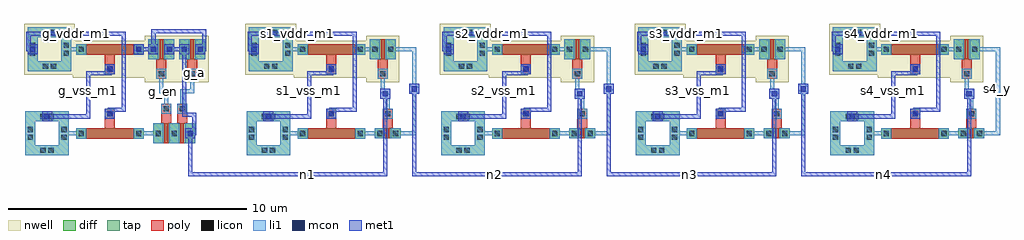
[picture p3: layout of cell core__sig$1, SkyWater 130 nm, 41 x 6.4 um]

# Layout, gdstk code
from math import pi, radians
import gdstk
lib = gdstk.Library(unit=1e-6, precision=1e-09)
def R(c, l, rs):  # rectangles x0, y0, x1, y1
    for r in rs: c.add(gdstk.rectangle(r[:2], r[2:], *l))
def A(c, l, x, y, w, h, nx, ny, dx, dy):  # array of equal rectangles
    R(c, l, [(x+i*dx, y+j*dy, x+i*dx+w, y+j*dy+h) for i in range(nx) for j in range(ny)])
def P(c, l, *ps):  # polygons
    for p in ps: c.add(gdstk.Polygon(p, *l))
nwell = (64, 20)
diff = (65, 20)
tap = (65, 44)
poly = (66, 20)
licon = (66, 44)
li1 = (67, 20)
mcon = (67, 44)
met1 = (68, 20)

mos_array_10 = lib.new_cell('mos_array$10')
R(mos_array_10, nwell, [(-0.15,-0.15,2.99,1.41)])
R(mos_array_10, diff, [(0,0,2.84,0.44)])
R(mos_array_10, poly, [(0.42,0,2.42,0.44), (1.21,0.44,1.63,1.26)])
R(mos_array_10, licon, [(0.1,0.11,0.32,0.33), (2.52,0.11,2.74,0.33), (1.31,0.94,1.53,1.16)])
R(mos_array_10, li1, [(0,0,0.42,0.44), (2.42,0,2.84,0.44), (1.21,0.84,1.63,1.26)])

mph__mph_5 = lib.new_cell('mph__mph$5')
mph__mph_5.add(gdstk.Reference(mos_array_10, (0,0)))

mos_array_1_6 = lib.new_cell('mos_array$1$6')
R(mos_array_1_6, nwell, [(-0.15,-0.15,1.24,1.81)])
R(mos_array_1_6, diff, [(0,0,1.09,0.84)])
R(mos_array_1_6, poly, [(0.47,0,0.62,0.84), (0.335,0.84,0.755,1.66)])
R(mos_array_1_6, licon, [(0.1,0.31,0.32,0.53), (0.77,0.31,0.99,0.53), (0.435,1.34,0.655,1.56)])
R(mos_array_1_6, li1, [(0,0,0.42,0.84), (0.67,0,1.09,0.84), (0.335,1.24,0.755,1.66)])

mpa__mpa_1 = lib.new_cell('mpa__mpa$1')
mpa__mpa_1.add(gdstk.Reference(mos_array_1_6, (0,0)))

mos_array_2_5 = lib.new_cell('mos_array$2$5')
R(mos_array_2_5, nwell, [(-0.15,-0.15,1.24,1.81)])
R(mos_array_2_5, diff, [(0,0,1.09,0.84)])
R(mos_array_2_5, poly, [(0.47,0,0.62,0.84), (0.335,0.84,0.755,1.66)])
R(mos_array_2_5, licon, [(0.1,0.31,0.32,0.53), (0.77,0.31,0.99,0.53), (0.435,1.34,0.655,1.56)])
R(mos_array_2_5, li1, [(0,0,0.42,0.84), (0.67,0,1.09,0.84), (0.335,1.24,0.755,1.66)])

mpb__mpb_1 = lib.new_cell('mpb__mpb$1')
mpb__mpb_1.add(gdstk.Reference(mos_array_2_5, (0,0)))

mos_array_3_5 = lib.new_cell('mos_array$3$5')
R(mos_array_3_5, diff, [(0,0,2.84,0.44)])
R(mos_array_3_5, poly, [(0.42,0,2.42,0.44), (1.21,0.44,1.63,1.26)])
R(mos_array_3_5, licon, [(0.1,0.11,0.32,0.33), (2.52,0.11,2.74,0.33), (1.31,0.94,1.53,1.16)])
R(mos_array_3_5, li1, [(0,0,0.42,0.44), (2.42,0,2.84,0.44), (1.21,0.84,1.63,1.26)])

mnt__mnt_5 = lib.new_cell('mnt__mnt$5')
mnt__mnt_5.add(gdstk.Reference(mos_array_3_5, (0,0)))

mos_array_4_1 = lib.new_cell('mos_array$4$1')
R(mos_array_4_1, diff, [(0,0,1.76,0.84)])
R(mos_array_4_1, poly, [(0.47,0,0.62,0.84), (1.14,0,1.29,0.84), (0.335,0.84,0.755,1.66), (1.005,0.84,1.425,1.66)])
A(mos_array_4_1, licon, 0.1, 0.31, 0.22, 0.22, 3, 1, 0.67, 0)
R(mos_array_4_1, licon, [(0.435,1.34,0.655,1.56), (1.105,1.34,1.325,1.56)])
A(mos_array_4_1, li1, 0, 0, 0.42, 0.84, 3, 1, 0.67, 0)
R(mos_array_4_1, li1, [(0.335,1.24,0.755,1.66), (1.005,1.24,1.425,1.66)])

mnab__mnab_1 = lib.new_cell('mnab__mnab$1')
mnab__mnab_1.add(gdstk.Reference(mos_array_4_1, (0,0)))

guard_ring_7 = lib.new_cell('guard_ring$7')
R(guard_ring_7, nwell, [(-0.15,-0.15,1.99,1.99)])
P(guard_ring_7, tap, [(0,0),(0,1.42),(0.42,1.42),(0.42,0.42),(1.42,0.42),(1.42,1.42),(0,1.42),(0,1.84),(1.84,1.84),(1.84,0)])
R(guard_ring_7, licon, [(0.643,0.1,0.863,0.32), (0.977,0.1,1.197,0.32), (0.1,0.643,0.32,0.863), (1.52,0.643,1.74,0.863), (0.1,0.977,0.32,1.197), (1.52,0.977,1.74,1.197), (0.643,1.52,0.863,1.74), (0.977,1.52,1.197,1.74)])
P(guard_ring_7, li1, [(0,0),(0,1.42),(0.42,1.42),(0.42,0.42),(1.42,0.42),(1.42,1.42),(0,1.42),(0,1.84),(1.84,1.84),(1.84,0)])

nwell_tap__nwell_tap_6 = lib.new_cell('nwell_tap__nwell_tap$6')
nwell_tap__nwell_tap_6.add(gdstk.Reference(guard_ring_7, (0,0)))

guard_ring_1_6 = lib.new_cell('guard_ring$1$6')
P(guard_ring_1_6, tap, [(0,0),(0,1.42),(0.42,1.42),(0.42,0.42),(1.42,0.42),(1.42,1.42),(0,1.42),(0,1.84),(1.84,1.84),(1.84,0)])
R(guard_ring_1_6, licon, [(0.643,0.1,0.863,0.32), (0.977,0.1,1.197,0.32), (0.1,0.643,0.32,0.863), (1.52,0.643,1.74,0.863), (0.1,0.977,0.32,1.197), (1.52,0.977,1.74,1.197), (0.643,1.52,0.863,1.74), (0.977,1.52,1.197,1.74)])
P(guard_ring_1_6, li1, [(0,0),(0,1.42),(0.42,1.42),(0.42,0.42),(1.42,0.42),(1.42,1.42),(0,1.42),(0,1.84),(1.84,1.84),(1.84,0)])

psub_tap__psub_tap_6 = lib.new_cell('psub_tap__psub_tap$6')
psub_tap__psub_tap_6.add(gdstk.Reference(guard_ring_1_6, (0,0)))

core__core_5 = lib.new_cell('core__core$5')
R(core__core_5, li1, [(3.575,1.24,3.995,1.41), (4.245,1.24,4.665,1.41), (3.375,2.54,3.795,2.71), (4.665,2.54,5.085,2.71)])
core__core_5.add(gdstk.FlexPath([(0.21,3.74),(-0.41,3.74)], 0.17, ends="flush", simple_path=True, layer=67, datatype=20))  # li1
core__core_5.add(gdstk.FlexPath([(0.21,0.21),(-0.51,0.21)], 0.17, ends="flush", simple_path=True, layer=67, datatype=20))  # li1
core__core_5.add(gdstk.FlexPath([(2.63,0.21),(3.45,0.21)], 0.17, ends="flush", simple_path=True, layer=67, datatype=20))  # li1
core__core_5.add(gdstk.FlexPath([(3.585,2.71),(3.585,1.975),(3.785,1.975),(3.785,1.24)], 0.17, ends="flush", simple_path=True, layer=67, datatype=20))  # li1
core__core_5.add(gdstk.FlexPath([(4.875,2.71),(4.875,1.975),(4.455,1.975),(4.455,1.24)], 0.17, ends="flush", simple_path=True, layer=67, datatype=20))  # li1
core__core_5.add(gdstk.Reference(mph__mph_5, (0,3.96), x_reflection=True))
core__core_5.add(gdstk.Reference(mpa__mpa_1, (3.04,4.16), x_reflection=True))
core__core_5.add(gdstk.Reference(mpb__mpb_1, (5.42,4.16), rotation=pi))
core__core_5.add(gdstk.Reference(mnt__mnt_5, (0,-0.01)))
core__core_5.add(gdstk.Reference(mnab__mnab_1, (3.24,-0.21)))
core__core_5.add(gdstk.Reference(nwell_tap__nwell_tap_6, (-2.04,2.82)))
core__core_5.add(gdstk.Reference(psub_tap__psub_tap_6, (-2.14,-0.71)))
core__core_5.add(gdstk.Label('vddr', (-0.1,3.74), layer=67, texttype=5))
core__core_5.add(gdstk.Label('vss', (-0.15,0.21), layer=67, texttype=5))
core__core_5.add(gdstk.Label('ny', (3.04,0.21), layer=67, texttype=5))
core__core_5.add(gdstk.Label('en', (3.685,1.975), layer=67, texttype=5))
core__core_5.add(gdstk.Label('a', (4.665,1.975), layer=67, texttype=5))
core__core_5.add(gdstk.Label('vddr', (-1.83,3.74), layer=67, texttype=5))
core__core_5.add(gdstk.Label('vss', (-1.22,0.92), layer=67, texttype=5))
core__core_5.add(gdstk.Label('mph_py', (2.63,3.74), layer=67, texttype=5))
core__core_5.add(gdstk.Label('mpa_py', (3.25,3.74), layer=67, texttype=5))
core__core_5.add(gdstk.Label('mpb_py', (5.21,3.74), layer=67, texttype=5))
core__core_5.add(gdstk.Label('mpa_y', (3.92,3.74), layer=67, texttype=5))
core__core_5.add(gdstk.Label('mpb_y', (4.54,3.74), layer=67, texttype=5))
core__core_5.add(gdstk.Label('mnab_y', (4.79,0.21), layer=67, texttype=5))
core__core_5.add(gdstk.Label('mph_g', (1.42,2.91), layer=67, texttype=5))
core__core_5.add(gdstk.Label('mnt_g', (1.42,1.04), layer=67, texttype=5))

g__ro_nand2_wstv0p44 = lib.new_cell('g__ro_nand2_wstv0p44')
R(g__ro_nand2_wstv0p44, li1, [(4.58,0,5,0.42), (-1.43,0.71,-1.01,1.13), (1.21,0.83,1.63,1.25), (1.21,2.7,1.63,3.12), (-2.04,3.53,-1.62,3.95), (2.42,3.53,2.84,3.95), (3.04,3.53,3.46,3.95), (3.04,3.53,3.46,3.95), (3.71,3.53,4.13,3.95), (4.33,3.53,4.75,3.95), (4.33,3.53,4.75,3.95), (5,3.53,5.42,3.95)])
R(g__ro_nand2_wstv0p44, mcon, [(4.68,0.1,4.9,0.32), (-1.33,0.81,-1.11,1.03), (1.31,0.93,1.53,1.15), (1.31,2.8,1.53,3.02), (-1.94,3.63,-1.72,3.85), (2.52,3.63,2.74,3.85), (3.14,3.63,3.36,3.85), (3.14,3.63,3.36,3.85), (3.81,3.63,4.03,3.85), (4.43,3.63,4.65,3.85), (4.43,3.63,4.65,3.85), (5.1,3.63,5.32,3.85)])
R(g__ro_nand2_wstv0p44, met1, [(4.58,0,5,0.42), (-1.43,0.71,-1.01,1.13), (1.21,0.83,1.63,1.25), (1.21,2.7,1.63,3.12), (-2.04,3.53,-1.62,3.95), (2.42,3.53,2.84,3.95), (3.04,3.53,3.46,3.95), (3.04,3.53,3.46,3.95), (3.71,3.53,4.13,3.95), (4.33,3.53,4.75,3.95), (4.33,3.53,4.75,3.95), (5,3.53,5.42,3.95)])
g__ro_nand2_wstv0p44.add(gdstk.FlexPath([(2.63,3.74),(3.25,3.74)], 0.17, ends="flush", simple_path=True, layer=68, datatype=20))  # met1
g__ro_nand2_wstv0p44.add(gdstk.FlexPath([(3.25,3.74),(3.25,4.5),(5.38,4.5),(5.38,3.74),(5.21,3.74)], 0.17, ends="flush", simple_path=True, layer=68, datatype=20))  # met1
g__ro_nand2_wstv0p44.add(gdstk.FlexPath([(3.92,3.74),(4.54,3.74)], 0.17, ends="flush", simple_path=True, layer=68, datatype=20))  # met1
g__ro_nand2_wstv0p44.add(gdstk.FlexPath([(4.54,3.74),(4.54,1),(4.96,1),(4.96,0.21),(4.79,0.21)], 0.17, ends="flush", simple_path=True, layer=68, datatype=20))  # met1
g__ro_nand2_wstv0p44.add(gdstk.FlexPath([(1.42,2.91),(1.42,2.74),(0.5,2.74),(0.5,0.92),(-1.22,0.92),(-1.22,0.92)], 0.17, ends="flush", simple_path=True, layer=68, datatype=20))  # met1
g__ro_nand2_wstv0p44.add(gdstk.FlexPath([(1.42,1.04),(1.42,1.21),(2,1.21),(2,4.4),(-2,4.4),(-2,3.74),(-1.83,3.74)], 0.17, ends="flush", simple_path=True, layer=68, datatype=20))  # met1
g__ro_nand2_wstv0p44.add(gdstk.Reference(core__core_5, (0,0)))
g__ro_nand2_wstv0p44.add(gdstk.Label('py', (2.94,3.74), layer=68, texttype=5))
g__ro_nand2_wstv0p44.add(gdstk.Label('py', (4.4,4.5), layer=68, texttype=5))
g__ro_nand2_wstv0p44.add(gdstk.Label('y', (4.23,3.74), layer=68, texttype=5))
g__ro_nand2_wstv0p44.add(gdstk.Label('y', (4.54,1.68), layer=68, texttype=5))
g__ro_nand2_wstv0p44.add(gdstk.Label('vss', (0.5,1.515), layer=68, texttype=5))
g__ro_nand2_wstv0p44.add(gdstk.Label('vddr', (1.555,4.4), layer=68, texttype=5))

mos_array_5_1 = lib.new_cell('mos_array$5$1')
R(mos_array_5_1, diff, [(0,0,2.84,0.44)])
R(mos_array_5_1, poly, [(0.42,0,2.42,0.44), (1.21,0.44,1.63,1.26)])
R(mos_array_5_1, licon, [(0.1,0.11,0.32,0.33), (2.52,0.11,2.74,0.33), (1.31,0.94,1.53,1.16)])
R(mos_array_5_1, li1, [(0,0,0.42,0.44), (2.42,0,2.84,0.44), (1.21,0.84,1.63,1.26)])

mnt__mnt_1_1 = lib.new_cell('mnt__mnt$1$1')
mnt__mnt_1_1.add(gdstk.Reference(mos_array_5_1, (0,0)))

guard_ring_2_1 = lib.new_cell('guard_ring$2$1')
P(guard_ring_2_1, tap, [(0,0),(0,1.42),(0.42,1.42),(0.42,0.42),(1.42,0.42),(1.42,1.42),(0,1.42),(0,1.84),(1.84,1.84),(1.84,0)])
R(guard_ring_2_1, licon, [(0.643,0.1,0.863,0.32), (0.977,0.1,1.197,0.32), (0.1,0.643,0.32,0.863), (1.52,0.643,1.74,0.863), (0.1,0.977,0.32,1.197), (1.52,0.977,1.74,1.197), (0.643,1.52,0.863,1.74), (0.977,1.52,1.197,1.74)])
P(guard_ring_2_1, li1, [(0,0),(0,1.42),(0.42,1.42),(0.42,0.42),(1.42,0.42),(1.42,1.42),(0,1.42),(0,1.84),(1.84,1.84),(1.84,0)])

psub_tap__psub_tap_1_1 = lib.new_cell('psub_tap__psub_tap$1$1')
psub_tap__psub_tap_1_1.add(gdstk.Reference(guard_ring_2_1, (0,0)))

mos_array_1_1_1 = lib.new_cell('mos_array$1$1$1')
R(mos_array_1_1_1, diff, [(0,0,1.09,0.42)])
R(mos_array_1_1_1, poly, [(0.47,0,0.62,0.42), (0.335,0.42,0.755,1.24)])
R(mos_array_1_1_1, licon, [(0.1,0.1,0.32,0.32), (0.77,0.1,0.99,0.32), (0.435,0.92,0.655,1.14)])
R(mos_array_1_1_1, li1, [(0,0,0.42,0.42), (0.67,0,1.09,0.42), (0.335,0.82,0.755,1.24)])

mn__mn_4 = lib.new_cell('mn__mn$4')
mn__mn_4.add(gdstk.Reference(mos_array_1_1_1, (0,0)))

mos_array_2_1_1 = lib.new_cell('mos_array$2$1$1')
R(mos_array_2_1_1, nwell, [(-0.15,-0.15,2.99,1.41)])
R(mos_array_2_1_1, diff, [(0,0,2.84,0.44)])
R(mos_array_2_1_1, poly, [(0.42,0,2.42,0.44), (1.21,0.44,1.63,1.26)])
R(mos_array_2_1_1, licon, [(0.1,0.11,0.32,0.33), (2.52,0.11,2.74,0.33), (1.31,0.94,1.53,1.16)])
R(mos_array_2_1_1, li1, [(0,0,0.42,0.44), (2.42,0,2.84,0.44), (1.21,0.84,1.63,1.26)])

mph__mph_1_1 = lib.new_cell('mph__mph$1$1')
mph__mph_1_1.add(gdstk.Reference(mos_array_2_1_1, (0,0)))

guard_ring_1_1_1 = lib.new_cell('guard_ring$1$1$1')
R(guard_ring_1_1_1, nwell, [(-0.15,-0.15,1.99,1.99)])
P(guard_ring_1_1_1, tap, [(0,0),(0,1.42),(0.42,1.42),(0.42,0.42),(1.42,0.42),(1.42,1.42),(0,1.42),(0,1.84),(1.84,1.84),(1.84,0)])
R(guard_ring_1_1_1, licon, [(0.643,0.1,0.863,0.32), (0.977,0.1,1.197,0.32), (0.1,0.643,0.32,0.863), (1.52,0.643,1.74,0.863), (0.1,0.977,0.32,1.197), (1.52,0.977,1.74,1.197), (0.643,1.52,0.863,1.74), (0.977,1.52,1.197,1.74)])
P(guard_ring_1_1_1, li1, [(0,0),(0,1.42),(0.42,1.42),(0.42,0.42),(1.42,0.42),(1.42,1.42),(0,1.42),(0,1.84),(1.84,1.84),(1.84,0)])

nwell_tap__nwell_tap_1_1 = lib.new_cell('nwell_tap__nwell_tap$1$1')
nwell_tap__nwell_tap_1_1.add(gdstk.Reference(guard_ring_1_1_1, (0,0)))

mos_array_3_1_1 = lib.new_cell('mos_array$3$1$1')
R(mos_array_3_1_1, nwell, [(-0.15,-0.15,1.24,1.81)])
R(mos_array_3_1_1, diff, [(0,0,1.09,0.84)])
R(mos_array_3_1_1, poly, [(0.47,0,0.62,0.84), (0.335,0.84,0.755,1.66)])
R(mos_array_3_1_1, licon, [(0.1,0.31,0.32,0.53), (0.77,0.31,0.99,0.53), (0.435,1.34,0.655,1.56)])
R(mos_array_3_1_1, li1, [(0,0,0.42,0.84), (0.67,0,1.09,0.84), (0.335,1.24,0.755,1.66)])

mp__mp_4 = lib.new_cell('mp__mp$4')
mp__mp_4.add(gdstk.Reference(mos_array_3_1_1, (0,0)))

core__core_1_1 = lib.new_cell('core__core$1$1')
R(core__core_1_1, li1, [(3.575,1.03,3.995,1.2), (3.375,2.54,3.795,2.71)])
core__core_1_1.add(gdstk.FlexPath([(3.585,2.71),(3.585,1.87),(3.785,1.87),(3.785,1.03)], 0.17, ends="flush", simple_path=True, layer=67, datatype=20))  # li1
core__core_1_1.add(gdstk.FlexPath([(3.92,3.74),(4.9,3.74),(4.9,0.21),(4.12,0.21)], 0.17, ends="flush", simple_path=True, layer=67, datatype=20))  # li1
core__core_1_1.add(gdstk.FlexPath([(2.63,3.74),(3.25,3.74)], 0.17, ends="flush", simple_path=True, layer=67, datatype=20))  # li1
core__core_1_1.add(gdstk.FlexPath([(2.63,0.21),(3.45,0.21)], 0.17, ends="flush", simple_path=True, layer=67, datatype=20))  # li1
core__core_1_1.add(gdstk.FlexPath([(0.21,3.74),(-0.41,3.74)], 0.17, ends="flush", simple_path=True, layer=67, datatype=20))  # li1
core__core_1_1.add(gdstk.FlexPath([(0.21,0.21),(-0.51,0.21)], 0.17, ends="flush", simple_path=True, layer=67, datatype=20))  # li1
core__core_1_1.add(gdstk.Reference(mnt__mnt_1_1, (0,-0.01)))
core__core_1_1.add(gdstk.Reference(psub_tap__psub_tap_1_1, (-2.14,-0.71)))
core__core_1_1.add(gdstk.Reference(mn__mn_4, (3.24,0)))
core__core_1_1.add(gdstk.Reference(mph__mph_1_1, (0,3.96), x_reflection=True))
core__core_1_1.add(gdstk.Reference(nwell_tap__nwell_tap_1_1, (-2.04,2.82)))
core__core_1_1.add(gdstk.Reference(mp__mp_4, (3.04,4.16), x_reflection=True))
core__core_1_1.add(gdstk.Label('a', (3.685,1.87), layer=67, texttype=5))
core__core_1_1.add(gdstk.Label('y', (4.9,2.075), layer=67, texttype=5))
core__core_1_1.add(gdstk.Label('py', (2.94,3.74), layer=67, texttype=5))
core__core_1_1.add(gdstk.Label('ny', (3.04,0.21), layer=67, texttype=5))
core__core_1_1.add(gdstk.Label('vddr', (-0.1,3.74), layer=67, texttype=5))
core__core_1_1.add(gdstk.Label('vss', (-0.15,0.21), layer=67, texttype=5))
core__core_1_1.add(gdstk.Label('vddr', (-1.83,3.74), layer=67, texttype=5))
core__core_1_1.add(gdstk.Label('vss', (-1.22,0.92), layer=67, texttype=5))
core__core_1_1.add(gdstk.Label('mph_g', (1.42,2.91), layer=67, texttype=5))
core__core_1_1.add(gdstk.Label('mnt_g', (1.42,1.04), layer=67, texttype=5))

s1__ro_stage_wstv0p44 = lib.new_cell('s1__ro_stage_wstv0p44')
R(s1__ro_stage_wstv0p44, li1, [(-1.43,0.71,-1.01,1.13), (1.21,0.83,1.63,1.25), (1.21,2.7,1.63,3.12), (-2.04,3.53,-1.62,3.95)])
R(s1__ro_stage_wstv0p44, mcon, [(-1.33,0.81,-1.11,1.03), (1.31,0.93,1.53,1.15), (1.31,2.8,1.53,3.02), (-1.94,3.63,-1.72,3.85)])
R(s1__ro_stage_wstv0p44, met1, [(-1.43,0.71,-1.01,1.13), (1.21,0.83,1.63,1.25), (1.21,2.7,1.63,3.12), (-2.04,3.53,-1.62,3.95)])
s1__ro_stage_wstv0p44.add(gdstk.FlexPath([(1.42,2.91),(1.42,2.74),(0.5,2.74),(0.5,0.92),(-1.22,0.92),(-1.22,0.92)], 0.17, ends="flush", simple_path=True, layer=68, datatype=20))  # met1
s1__ro_stage_wstv0p44.add(gdstk.FlexPath([(1.42,1.04),(1.42,1.21),(2.4,1.21),(2.4,4.4),(-2,4.4),(-2,3.74),(-1.83,3.74)], 0.17, ends="flush", simple_path=True, layer=68, datatype=20))  # met1
s1__ro_stage_wstv0p44.add(gdstk.Reference(core__core_1_1, (0,0)))
s1__ro_stage_wstv0p44.add(gdstk.Label('vss', (0.5,1.515), layer=68, texttype=5))
s1__ro_stage_wstv0p44.add(gdstk.Label('vddr', (1.955,4.4), layer=68, texttype=5))

mos_array_6_1 = lib.new_cell('mos_array$6$1')
R(mos_array_6_1, diff, [(0,0,2.84,0.44)])
R(mos_array_6_1, poly, [(0.42,0,2.42,0.44), (1.21,0.44,1.63,1.26)])
R(mos_array_6_1, licon, [(0.1,0.11,0.32,0.33), (2.52,0.11,2.74,0.33), (1.31,0.94,1.53,1.16)])
R(mos_array_6_1, li1, [(0,0,0.42,0.44), (2.42,0,2.84,0.44), (1.21,0.84,1.63,1.26)])

mnt__mnt_2_1 = lib.new_cell('mnt__mnt$2$1')
mnt__mnt_2_1.add(gdstk.Reference(mos_array_6_1, (0,0)))

guard_ring_3_1 = lib.new_cell('guard_ring$3$1')
P(guard_ring_3_1, tap, [(0,0),(0,1.42),(0.42,1.42),(0.42,0.42),(1.42,0.42),(1.42,1.42),(0,1.42),(0,1.84),(1.84,1.84),(1.84,0)])
R(guard_ring_3_1, licon, [(0.643,0.1,0.863,0.32), (0.977,0.1,1.197,0.32), (0.1,0.643,0.32,0.863), (1.52,0.643,1.74,0.863), (0.1,0.977,0.32,1.197), (1.52,0.977,1.74,1.197), (0.643,1.52,0.863,1.74), (0.977,1.52,1.197,1.74)])
P(guard_ring_3_1, li1, [(0,0),(0,1.42),(0.42,1.42),(0.42,0.42),(1.42,0.42),(1.42,1.42),(0,1.42),(0,1.84),(1.84,1.84),(1.84,0)])

psub_tap__psub_tap_2_1 = lib.new_cell('psub_tap__psub_tap$2$1')
psub_tap__psub_tap_2_1.add(gdstk.Reference(guard_ring_3_1, (0,0)))

mos_array_1_2_1 = lib.new_cell('mos_array$1$2$1')
R(mos_array_1_2_1, diff, [(0,0,1.09,0.42)])
R(mos_array_1_2_1, poly, [(0.47,0,0.62,0.42), (0.335,0.42,0.755,1.24)])
R(mos_array_1_2_1, licon, [(0.1,0.1,0.32,0.32), (0.77,0.1,0.99,0.32), (0.435,0.92,0.655,1.14)])
R(mos_array_1_2_1, li1, [(0,0,0.42,0.42), (0.67,0,1.09,0.42), (0.335,0.82,0.755,1.24)])

mn__mn_1_1 = lib.new_cell('mn__mn$1$1')
mn__mn_1_1.add(gdstk.Reference(mos_array_1_2_1, (0,0)))

mos_array_2_2_1 = lib.new_cell('mos_array$2$2$1')
R(mos_array_2_2_1, nwell, [(-0.15,-0.15,2.99,1.41)])
R(mos_array_2_2_1, diff, [(0,0,2.84,0.44)])
R(mos_array_2_2_1, poly, [(0.42,0,2.42,0.44), (1.21,0.44,1.63,1.26)])
R(mos_array_2_2_1, licon, [(0.1,0.11,0.32,0.33), (2.52,0.11,2.74,0.33), (1.31,0.94,1.53,1.16)])
R(mos_array_2_2_1, li1, [(0,0,0.42,0.44), (2.42,0,2.84,0.44), (1.21,0.84,1.63,1.26)])

mph__mph_2_1 = lib.new_cell('mph__mph$2$1')
mph__mph_2_1.add(gdstk.Reference(mos_array_2_2_1, (0,0)))

guard_ring_1_2_1 = lib.new_cell('guard_ring$1$2$1')
R(guard_ring_1_2_1, nwell, [(-0.15,-0.15,1.99,1.99)])
P(guard_ring_1_2_1, tap, [(0,0),(0,1.42),(0.42,1.42),(0.42,0.42),(1.42,0.42),(1.42,1.42),(0,1.42),(0,1.84),(1.84,1.84),(1.84,0)])
R(guard_ring_1_2_1, licon, [(0.643,0.1,0.863,0.32), (0.977,0.1,1.197,0.32), (0.1,0.643,0.32,0.863), (1.52,0.643,1.74,0.863), (0.1,0.977,0.32,1.197), (1.52,0.977,1.74,1.197), (0.643,1.52,0.863,1.74), (0.977,1.52,1.197,1.74)])
P(guard_ring_1_2_1, li1, [(0,0),(0,1.42),(0.42,1.42),(0.42,0.42),(1.42,0.42),(1.42,1.42),(0,1.42),(0,1.84),(1.84,1.84),(1.84,0)])

nwell_tap__nwell_tap_2_1 = lib.new_cell('nwell_tap__nwell_tap$2$1')
nwell_tap__nwell_tap_2_1.add(gdstk.Reference(guard_ring_1_2_1, (0,0)))

mos_array_3_2_1 = lib.new_cell('mos_array$3$2$1')
R(mos_array_3_2_1, nwell, [(-0.15,-0.15,1.24,1.81)])
R(mos_array_3_2_1, diff, [(0,0,1.09,0.84)])
R(mos_array_3_2_1, poly, [(0.47,0,0.62,0.84), (0.335,0.84,0.755,1.66)])
R(mos_array_3_2_1, licon, [(0.1,0.31,0.32,0.53), (0.77,0.31,0.99,0.53), (0.435,1.34,0.655,1.56)])
R(mos_array_3_2_1, li1, [(0,0,0.42,0.84), (0.67,0,1.09,0.84), (0.335,1.24,0.755,1.66)])

mp__mp_1_1 = lib.new_cell('mp__mp$1$1')
mp__mp_1_1.add(gdstk.Reference(mos_array_3_2_1, (0,0)))

core__core_2_1 = lib.new_cell('core__core$2$1')
R(core__core_2_1, li1, [(3.575,1.03,3.995,1.2), (3.375,2.54,3.795,2.71)])
core__core_2_1.add(gdstk.FlexPath([(3.585,2.71),(3.585,1.87),(3.785,1.87),(3.785,1.03)], 0.17, ends="flush", simple_path=True, layer=67, datatype=20))  # li1
core__core_2_1.add(gdstk.FlexPath([(3.92,3.74),(4.9,3.74),(4.9,0.21),(4.12,0.21)], 0.17, ends="flush", simple_path=True, layer=67, datatype=20))  # li1
core__core_2_1.add(gdstk.FlexPath([(2.63,3.74),(3.25,3.74)], 0.17, ends="flush", simple_path=True, layer=67, datatype=20))  # li1
core__core_2_1.add(gdstk.FlexPath([(2.63,0.21),(3.45,0.21)], 0.17, ends="flush", simple_path=True, layer=67, datatype=20))  # li1
core__core_2_1.add(gdstk.FlexPath([(0.21,3.74),(-0.41,3.74)], 0.17, ends="flush", simple_path=True, layer=67, datatype=20))  # li1
core__core_2_1.add(gdstk.FlexPath([(0.21,0.21),(-0.51,0.21)], 0.17, ends="flush", simple_path=True, layer=67, datatype=20))  # li1
core__core_2_1.add(gdstk.Reference(mnt__mnt_2_1, (0,-0.01)))
core__core_2_1.add(gdstk.Reference(psub_tap__psub_tap_2_1, (-2.14,-0.71)))
core__core_2_1.add(gdstk.Reference(mn__mn_1_1, (3.24,0)))
core__core_2_1.add(gdstk.Reference(mph__mph_2_1, (0,3.96), x_reflection=True))
core__core_2_1.add(gdstk.Reference(nwell_tap__nwell_tap_2_1, (-2.04,2.82)))
core__core_2_1.add(gdstk.Reference(mp__mp_1_1, (3.04,4.16), x_reflection=True))
core__core_2_1.add(gdstk.Label('a', (3.685,1.87), layer=67, texttype=5))
core__core_2_1.add(gdstk.Label('y', (4.9,2.075), layer=67, texttype=5))
core__core_2_1.add(gdstk.Label('py', (2.94,3.74), layer=67, texttype=5))
core__core_2_1.add(gdstk.Label('ny', (3.04,0.21), layer=67, texttype=5))
core__core_2_1.add(gdstk.Label('vddr', (-0.1,3.74), layer=67, texttype=5))
core__core_2_1.add(gdstk.Label('vss', (-0.15,0.21), layer=67, texttype=5))
core__core_2_1.add(gdstk.Label('vddr', (-1.83,3.74), layer=67, texttype=5))
core__core_2_1.add(gdstk.Label('vss', (-1.22,0.92), layer=67, texttype=5))
core__core_2_1.add(gdstk.Label('mph_g', (1.42,2.91), layer=67, texttype=5))
core__core_2_1.add(gdstk.Label('mnt_g', (1.42,1.04), layer=67, texttype=5))

s2__ro_stage_wstv0p44 = lib.new_cell('s2__ro_stage_wstv0p44')
R(s2__ro_stage_wstv0p44, li1, [(-1.43,0.71,-1.01,1.13), (1.21,0.83,1.63,1.25), (1.21,2.7,1.63,3.12), (-2.04,3.53,-1.62,3.95)])
R(s2__ro_stage_wstv0p44, mcon, [(-1.33,0.81,-1.11,1.03), (1.31,0.93,1.53,1.15), (1.31,2.8,1.53,3.02), (-1.94,3.63,-1.72,3.85)])
R(s2__ro_stage_wstv0p44, met1, [(-1.43,0.71,-1.01,1.13), (1.21,0.83,1.63,1.25), (1.21,2.7,1.63,3.12), (-2.04,3.53,-1.62,3.95)])
s2__ro_stage_wstv0p44.add(gdstk.FlexPath([(1.42,2.91),(1.42,2.74),(0.5,2.74),(0.5,0.92),(-1.22,0.92),(-1.22,0.92)], 0.17, ends="flush", simple_path=True, layer=68, datatype=20))  # met1
s2__ro_stage_wstv0p44.add(gdstk.FlexPath([(1.42,1.04),(1.42,1.21),(2.4,1.21),(2.4,4.4),(-2,4.4),(-2,3.74),(-1.83,3.74)], 0.17, ends="flush", simple_path=True, layer=68, datatype=20))  # met1
s2__ro_stage_wstv0p44.add(gdstk.Reference(core__core_2_1, (0,0)))
s2__ro_stage_wstv0p44.add(gdstk.Label('vss', (0.5,1.515), layer=68, texttype=5))
s2__ro_stage_wstv0p44.add(gdstk.Label('vddr', (1.955,4.4), layer=68, texttype=5))

mos_array_7_1 = lib.new_cell('mos_array$7$1')
R(mos_array_7_1, diff, [(0,0,2.84,0.44)])
R(mos_array_7_1, poly, [(0.42,0,2.42,0.44), (1.21,0.44,1.63,1.26)])
R(mos_array_7_1, licon, [(0.1,0.11,0.32,0.33), (2.52,0.11,2.74,0.33), (1.31,0.94,1.53,1.16)])
R(mos_array_7_1, li1, [(0,0,0.42,0.44), (2.42,0,2.84,0.44), (1.21,0.84,1.63,1.26)])

mnt__mnt_3_1 = lib.new_cell('mnt__mnt$3$1')
mnt__mnt_3_1.add(gdstk.Reference(mos_array_7_1, (0,0)))

guard_ring_4_1 = lib.new_cell('guard_ring$4$1')
P(guard_ring_4_1, tap, [(0,0),(0,1.42),(0.42,1.42),(0.42,0.42),(1.42,0.42),(1.42,1.42),(0,1.42),(0,1.84),(1.84,1.84),(1.84,0)])
R(guard_ring_4_1, licon, [(0.643,0.1,0.863,0.32), (0.977,0.1,1.197,0.32), (0.1,0.643,0.32,0.863), (1.52,0.643,1.74,0.863), (0.1,0.977,0.32,1.197), (1.52,0.977,1.74,1.197), (0.643,1.52,0.863,1.74), (0.977,1.52,1.197,1.74)])
P(guard_ring_4_1, li1, [(0,0),(0,1.42),(0.42,1.42),(0.42,0.42),(1.42,0.42),(1.42,1.42),(0,1.42),(0,1.84),(1.84,1.84),(1.84,0)])

psub_tap__psub_tap_3_1 = lib.new_cell('psub_tap__psub_tap$3$1')
psub_tap__psub_tap_3_1.add(gdstk.Reference(guard_ring_4_1, (0,0)))

mos_array_1_3_1 = lib.new_cell('mos_array$1$3$1')
R(mos_array_1_3_1, diff, [(0,0,1.09,0.42)])
R(mos_array_1_3_1, poly, [(0.47,0,0.62,0.42), (0.335,0.42,0.755,1.24)])
R(mos_array_1_3_1, licon, [(0.1,0.1,0.32,0.32), (0.77,0.1,0.99,0.32), (0.435,0.92,0.655,1.14)])
R(mos_array_1_3_1, li1, [(0,0,0.42,0.42), (0.67,0,1.09,0.42), (0.335,0.82,0.755,1.24)])

mn__mn_2_1 = lib.new_cell('mn__mn$2$1')
mn__mn_2_1.add(gdstk.Reference(mos_array_1_3_1, (0,0)))

mos_array_2_3_1 = lib.new_cell('mos_array$2$3$1')
R(mos_array_2_3_1, nwell, [(-0.15,-0.15,2.99,1.41)])
R(mos_array_2_3_1, diff, [(0,0,2.84,0.44)])
R(mos_array_2_3_1, poly, [(0.42,0,2.42,0.44), (1.21,0.44,1.63,1.26)])
R(mos_array_2_3_1, licon, [(0.1,0.11,0.32,0.33), (2.52,0.11,2.74,0.33), (1.31,0.94,1.53,1.16)])
R(mos_array_2_3_1, li1, [(0,0,0.42,0.44), (2.42,0,2.84,0.44), (1.21,0.84,1.63,1.26)])

mph__mph_3_1 = lib.new_cell('mph__mph$3$1')
mph__mph_3_1.add(gdstk.Reference(mos_array_2_3_1, (0,0)))

guard_ring_1_3_1 = lib.new_cell('guard_ring$1$3$1')
R(guard_ring_1_3_1, nwell, [(-0.15,-0.15,1.99,1.99)])
P(guard_ring_1_3_1, tap, [(0,0),(0,1.42),(0.42,1.42),(0.42,0.42),(1.42,0.42),(1.42,1.42),(0,1.42),(0,1.84),(1.84,1.84),(1.84,0)])
R(guard_ring_1_3_1, licon, [(0.643,0.1,0.863,0.32), (0.977,0.1,1.197,0.32), (0.1,0.643,0.32,0.863), (1.52,0.643,1.74,0.863), (0.1,0.977,0.32,1.197), (1.52,0.977,1.74,1.197), (0.643,1.52,0.863,1.74), (0.977,1.52,1.197,1.74)])
P(guard_ring_1_3_1, li1, [(0,0),(0,1.42),(0.42,1.42),(0.42,0.42),(1.42,0.42),(1.42,1.42),(0,1.42),(0,1.84),(1.84,1.84),(1.84,0)])

nwell_tap__nwell_tap_3_1 = lib.new_cell('nwell_tap__nwell_tap$3$1')
nwell_tap__nwell_tap_3_1.add(gdstk.Reference(guard_ring_1_3_1, (0,0)))

mos_array_3_3_1 = lib.new_cell('mos_array$3$3$1')
R(mos_array_3_3_1, nwell, [(-0.15,-0.15,1.24,1.81)])
R(mos_array_3_3_1, diff, [(0,0,1.09,0.84)])
R(mos_array_3_3_1, poly, [(0.47,0,0.62,0.84), (0.335,0.84,0.755,1.66)])
R(mos_array_3_3_1, licon, [(0.1,0.31,0.32,0.53), (0.77,0.31,0.99,0.53), (0.435,1.34,0.655,1.56)])
R(mos_array_3_3_1, li1, [(0,0,0.42,0.84), (0.67,0,1.09,0.84), (0.335,1.24,0.755,1.66)])

mp__mp_2_1 = lib.new_cell('mp__mp$2$1')
mp__mp_2_1.add(gdstk.Reference(mos_array_3_3_1, (0,0)))

core__core_3_1 = lib.new_cell('core__core$3$1')
R(core__core_3_1, li1, [(3.575,1.03,3.995,1.2), (3.375,2.54,3.795,2.71)])
core__core_3_1.add(gdstk.FlexPath([(3.585,2.71),(3.585,1.87),(3.785,1.87),(3.785,1.03)], 0.17, ends="flush", simple_path=True, layer=67, datatype=20))  # li1
core__core_3_1.add(gdstk.FlexPath([(3.92,3.74),(4.9,3.74),(4.9,0.21),(4.12,0.21)], 0.17, ends="flush", simple_path=True, layer=67, datatype=20))  # li1
core__core_3_1.add(gdstk.FlexPath([(2.63,3.74),(3.25,3.74)], 0.17, ends="flush", simple_path=True, layer=67, datatype=20))  # li1
core__core_3_1.add(gdstk.FlexPath([(2.63,0.21),(3.45,0.21)], 0.17, ends="flush", simple_path=True, layer=67, datatype=20))  # li1
core__core_3_1.add(gdstk.FlexPath([(0.21,3.74),(-0.41,3.74)], 0.17, ends="flush", simple_path=True, layer=67, datatype=20))  # li1
core__core_3_1.add(gdstk.FlexPath([(0.21,0.21),(-0.51,0.21)], 0.17, ends="flush", simple_path=True, layer=67, datatype=20))  # li1
core__core_3_1.add(gdstk.Reference(mnt__mnt_3_1, (0,-0.01)))
core__core_3_1.add(gdstk.Reference(psub_tap__psub_tap_3_1, (-2.14,-0.71)))
core__core_3_1.add(gdstk.Reference(mn__mn_2_1, (3.24,0)))
core__core_3_1.add(gdstk.Reference(mph__mph_3_1, (0,3.96), x_reflection=True))
core__core_3_1.add(gdstk.Reference(nwell_tap__nwell_tap_3_1, (-2.04,2.82)))
core__core_3_1.add(gdstk.Reference(mp__mp_2_1, (3.04,4.16), x_reflection=True))
core__core_3_1.add(gdstk.Label('a', (3.685,1.87), layer=67, texttype=5))
core__core_3_1.add(gdstk.Label('y', (4.9,2.075), layer=67, texttype=5))
core__core_3_1.add(gdstk.Label('py', (2.94,3.74), layer=67, texttype=5))
core__core_3_1.add(gdstk.Label('ny', (3.04,0.21), layer=67, texttype=5))
core__core_3_1.add(gdstk.Label('vddr', (-0.1,3.74), layer=67, texttype=5))
core__core_3_1.add(gdstk.Label('vss', (-0.15,0.21), layer=67, texttype=5))
core__core_3_1.add(gdstk.Label('vddr', (-1.83,3.74), layer=67, texttype=5))
core__core_3_1.add(gdstk.Label('vss', (-1.22,0.92), layer=67, texttype=5))
core__core_3_1.add(gdstk.Label('mph_g', (1.42,2.91), layer=67, texttype=5))
core__core_3_1.add(gdstk.Label('mnt_g', (1.42,1.04), layer=67, texttype=5))

s3__ro_stage_wstv0p44 = lib.new_cell('s3__ro_stage_wstv0p44')
R(s3__ro_stage_wstv0p44, li1, [(-1.43,0.71,-1.01,1.13), (1.21,0.83,1.63,1.25), (1.21,2.7,1.63,3.12), (-2.04,3.53,-1.62,3.95)])
R(s3__ro_stage_wstv0p44, mcon, [(-1.33,0.81,-1.11,1.03), (1.31,0.93,1.53,1.15), (1.31,2.8,1.53,3.02), (-1.94,3.63,-1.72,3.85)])
R(s3__ro_stage_wstv0p44, met1, [(-1.43,0.71,-1.01,1.13), (1.21,0.83,1.63,1.25), (1.21,2.7,1.63,3.12), (-2.04,3.53,-1.62,3.95)])
s3__ro_stage_wstv0p44.add(gdstk.FlexPath([(1.42,2.91),(1.42,2.74),(0.5,2.74),(0.5,0.92),(-1.22,0.92),(-1.22,0.92)], 0.17, ends="flush", simple_path=True, layer=68, datatype=20))  # met1
s3__ro_stage_wstv0p44.add(gdstk.FlexPath([(1.42,1.04),(1.42,1.21),(2.4,1.21),(2.4,4.4),(-2,4.4),(-2,3.74),(-1.83,3.74)], 0.17, ends="flush", simple_path=True, layer=68, datatype=20))  # met1
s3__ro_stage_wstv0p44.add(gdstk.Reference(core__core_3_1, (0,0)))
s3__ro_stage_wstv0p44.add(gdstk.Label('vss', (0.5,1.515), layer=68, texttype=5))
s3__ro_stage_wstv0p44.add(gdstk.Label('vddr', (1.955,4.4), layer=68, texttype=5))

mos_array_8_1 = lib.new_cell('mos_array$8$1')
R(mos_array_8_1, diff, [(0,0,2.84,0.44)])
R(mos_array_8_1, poly, [(0.42,0,2.42,0.44), (1.21,0.44,1.63,1.26)])
R(mos_array_8_1, licon, [(0.1,0.11,0.32,0.33), (2.52,0.11,2.74,0.33), (1.31,0.94,1.53,1.16)])
R(mos_array_8_1, li1, [(0,0,0.42,0.44), (2.42,0,2.84,0.44), (1.21,0.84,1.63,1.26)])

mnt__mnt_4_1 = lib.new_cell('mnt__mnt$4$1')
mnt__mnt_4_1.add(gdstk.Reference(mos_array_8_1, (0,0)))

guard_ring_5_1 = lib.new_cell('guard_ring$5$1')
P(guard_ring_5_1, tap, [(0,0),(0,1.42),(0.42,1.42),(0.42,0.42),(1.42,0.42),(1.42,1.42),(0,1.42),(0,1.84),(1.84,1.84),(1.84,0)])
R(guard_ring_5_1, licon, [(0.643,0.1,0.863,0.32), (0.977,0.1,1.197,0.32), (0.1,0.643,0.32,0.863), (1.52,0.643,1.74,0.863), (0.1,0.977,0.32,1.197), (1.52,0.977,1.74,1.197), (0.643,1.52,0.863,1.74), (0.977,1.52,1.197,1.74)])
P(guard_ring_5_1, li1, [(0,0),(0,1.42),(0.42,1.42),(0.42,0.42),(1.42,0.42),(1.42,1.42),(0,1.42),(0,1.84),(1.84,1.84),(1.84,0)])

psub_tap__psub_tap_4_1 = lib.new_cell('psub_tap__psub_tap$4$1')
psub_tap__psub_tap_4_1.add(gdstk.Reference(guard_ring_5_1, (0,0)))

mos_array_1_4_1 = lib.new_cell('mos_array$1$4$1')
R(mos_array_1_4_1, diff, [(0,0,1.09,0.42)])
R(mos_array_1_4_1, poly, [(0.47,0,0.62,0.42), (0.335,0.42,0.755,1.24)])
R(mos_array_1_4_1, licon, [(0.1,0.1,0.32,0.32), (0.77,0.1,0.99,0.32), (0.435,0.92,0.655,1.14)])
R(mos_array_1_4_1, li1, [(0,0,0.42,0.42), (0.67,0,1.09,0.42), (0.335,0.82,0.755,1.24)])

mn__mn_3_1 = lib.new_cell('mn__mn$3$1')
mn__mn_3_1.add(gdstk.Reference(mos_array_1_4_1, (0,0)))

mos_array_2_4_1 = lib.new_cell('mos_array$2$4$1')
R(mos_array_2_4_1, nwell, [(-0.15,-0.15,2.99,1.41)])
R(mos_array_2_4_1, diff, [(0,0,2.84,0.44)])
R(mos_array_2_4_1, poly, [(0.42,0,2.42,0.44), (1.21,0.44,1.63,1.26)])
R(mos_array_2_4_1, licon, [(0.1,0.11,0.32,0.33), (2.52,0.11,2.74,0.33), (1.31,0.94,1.53,1.16)])
R(mos_array_2_4_1, li1, [(0,0,0.42,0.44), (2.42,0,2.84,0.44), (1.21,0.84,1.63,1.26)])

mph__mph_4_1 = lib.new_cell('mph__mph$4$1')
mph__mph_4_1.add(gdstk.Reference(mos_array_2_4_1, (0,0)))

guard_ring_1_4_1 = lib.new_cell('guard_ring$1$4$1')
R(guard_ring_1_4_1, nwell, [(-0.15,-0.15,1.99,1.99)])
P(guard_ring_1_4_1, tap, [(0,0),(0,1.42),(0.42,1.42),(0.42,0.42),(1.42,0.42),(1.42,1.42),(0,1.42),(0,1.84),(1.84,1.84),(1.84,0)])
R(guard_ring_1_4_1, licon, [(0.643,0.1,0.863,0.32), (0.977,0.1,1.197,0.32), (0.1,0.643,0.32,0.863), (1.52,0.643,1.74,0.863), (0.1,0.977,0.32,1.197), (1.52,0.977,1.74,1.197), (0.643,1.52,0.863,1.74), (0.977,1.52,1.197,1.74)])
P(guard_ring_1_4_1, li1, [(0,0),(0,1.42),(0.42,1.42),(0.42,0.42),(1.42,0.42),(1.42,1.42),(0,1.42),(0,1.84),(1.84,1.84),(1.84,0)])

nwell_tap__nwell_tap_4_1 = lib.new_cell('nwell_tap__nwell_tap$4$1')
nwell_tap__nwell_tap_4_1.add(gdstk.Reference(guard_ring_1_4_1, (0,0)))

mos_array_3_4_1 = lib.new_cell('mos_array$3$4$1')
R(mos_array_3_4_1, nwell, [(-0.15,-0.15,1.24,1.81)])
R(mos_array_3_4_1, diff, [(0,0,1.09,0.84)])
R(mos_array_3_4_1, poly, [(0.47,0,0.62,0.84), (0.335,0.84,0.755,1.66)])
R(mos_array_3_4_1, licon, [(0.1,0.31,0.32,0.53), (0.77,0.31,0.99,0.53), (0.435,1.34,0.655,1.56)])
R(mos_array_3_4_1, li1, [(0,0,0.42,0.84), (0.67,0,1.09,0.84), (0.335,1.24,0.755,1.66)])

mp__mp_3_1 = lib.new_cell('mp__mp$3$1')
mp__mp_3_1.add(gdstk.Reference(mos_array_3_4_1, (0,0)))

core__core_4_1 = lib.new_cell('core__core$4$1')
R(core__core_4_1, li1, [(3.575,1.03,3.995,1.2), (3.375,2.54,3.795,2.71)])
core__core_4_1.add(gdstk.FlexPath([(3.585,2.71),(3.585,1.87),(3.785,1.87),(3.785,1.03)], 0.17, ends="flush", simple_path=True, layer=67, datatype=20))  # li1
core__core_4_1.add(gdstk.FlexPath([(3.92,3.74),(4.9,3.74),(4.9,0.21),(4.12,0.21)], 0.17, ends="flush", simple_path=True, layer=67, datatype=20))  # li1
core__core_4_1.add(gdstk.FlexPath([(2.63,3.74),(3.25,3.74)], 0.17, ends="flush", simple_path=True, layer=67, datatype=20))  # li1
core__core_4_1.add(gdstk.FlexPath([(2.63,0.21),(3.45,0.21)], 0.17, ends="flush", simple_path=True, layer=67, datatype=20))  # li1
core__core_4_1.add(gdstk.FlexPath([(0.21,3.74),(-0.41,3.74)], 0.17, ends="flush", simple_path=True, layer=67, datatype=20))  # li1
core__core_4_1.add(gdstk.FlexPath([(0.21,0.21),(-0.51,0.21)], 0.17, ends="flush", simple_path=True, layer=67, datatype=20))  # li1
core__core_4_1.add(gdstk.Reference(mnt__mnt_4_1, (0,-0.01)))
core__core_4_1.add(gdstk.Reference(psub_tap__psub_tap_4_1, (-2.14,-0.71)))
core__core_4_1.add(gdstk.Reference(mn__mn_3_1, (3.24,0)))
core__core_4_1.add(gdstk.Reference(mph__mph_4_1, (0,3.96), x_reflection=True))
core__core_4_1.add(gdstk.Reference(nwell_tap__nwell_tap_4_1, (-2.04,2.82)))
core__core_4_1.add(gdstk.Reference(mp__mp_3_1, (3.04,4.16), x_reflection=True))
core__core_4_1.add(gdstk.Label('a', (3.685,1.87), layer=67, texttype=5))
core__core_4_1.add(gdstk.Label('y', (4.9,2.075), layer=67, texttype=5))
core__core_4_1.add(gdstk.Label('py', (2.94,3.74), layer=67, texttype=5))
core__core_4_1.add(gdstk.Label('ny', (3.04,0.21), layer=67, texttype=5))
core__core_4_1.add(gdstk.Label('vddr', (-0.1,3.74), layer=67, texttype=5))
core__core_4_1.add(gdstk.Label('vss', (-0.15,0.21), layer=67, texttype=5))
core__core_4_1.add(gdstk.Label('vddr', (-1.83,3.74), layer=67, texttype=5))
core__core_4_1.add(gdstk.Label('vss', (-1.22,0.92), layer=67, texttype=5))
core__core_4_1.add(gdstk.Label('mph_g', (1.42,2.91), layer=67, texttype=5))
core__core_4_1.add(gdstk.Label('mnt_g', (1.42,1.04), layer=67, texttype=5))

s4__ro_stage_wstv0p44 = lib.new_cell('s4__ro_stage_wstv0p44')
R(s4__ro_stage_wstv0p44, li1, [(-1.43,0.71,-1.01,1.13), (1.21,0.83,1.63,1.25), (1.21,2.7,1.63,3.12), (-2.04,3.53,-1.62,3.95)])
R(s4__ro_stage_wstv0p44, mcon, [(-1.33,0.81,-1.11,1.03), (1.31,0.93,1.53,1.15), (1.31,2.8,1.53,3.02), (-1.94,3.63,-1.72,3.85)])
R(s4__ro_stage_wstv0p44, met1, [(-1.43,0.71,-1.01,1.13), (1.21,0.83,1.63,1.25), (1.21,2.7,1.63,3.12), (-2.04,3.53,-1.62,3.95)])
s4__ro_stage_wstv0p44.add(gdstk.FlexPath([(1.42,2.91),(1.42,2.74),(0.5,2.74),(0.5,0.92),(-1.22,0.92),(-1.22,0.92)], 0.17, ends="flush", simple_path=True, layer=68, datatype=20))  # met1
s4__ro_stage_wstv0p44.add(gdstk.FlexPath([(1.42,1.04),(1.42,1.21),(2.4,1.21),(2.4,4.4),(-2,4.4),(-2,3.74),(-1.83,3.74)], 0.17, ends="flush", simple_path=True, layer=68, datatype=20))  # met1
s4__ro_stage_wstv0p44.add(gdstk.Reference(core__core_4_1, (0,0)))
s4__ro_stage_wstv0p44.add(gdstk.Label('vss', (0.5,1.515), layer=68, texttype=5))
s4__ro_stage_wstv0p44.add(gdstk.Label('vddr', (1.955,4.4), layer=68, texttype=5))

core__place_1 = lib.new_cell('core__place$1')
core__place_1.add(gdstk.Reference(g__ro_nand2_wstv0p44, (0,0)))
core__place_1.add(gdstk.Reference(s1__ro_stage_wstv0p44, (9.3,0)))
core__place_1.add(gdstk.Reference(s2__ro_stage_wstv0p44, (17.475,0)))
core__place_1.add(gdstk.Reference(s3__ro_stage_wstv0p44, (25.65,0)))
core__place_1.add(gdstk.Reference(s4__ro_stage_wstv0p44, (33.825,0)))
core__place_1.add(gdstk.Label('g_a', (4.98,2.75), layer=67, texttype=5))
core__place_1.add(gdstk.Label('g_en', (3.685,1.975), layer=67, texttype=5))
core__place_1.add(gdstk.Label('g_y', (4.79,0.21), layer=67, texttype=5))
core__place_1.add(gdstk.Label('s1_a', (12.985,1.87), layer=67, texttype=5))
core__place_1.add(gdstk.Label('s1_y', (14.2,2.075), layer=67, texttype=5))
core__place_1.add(gdstk.Label('s2_a', (21.16,1.87), layer=67, texttype=5))
core__place_1.add(gdstk.Label('s2_y', (22.375,2.075), layer=67, texttype=5))
core__place_1.add(gdstk.Label('s3_a', (29.335,1.87), layer=67, texttype=5))
core__place_1.add(gdstk.Label('s3_y', (30.55,2.075), layer=67, texttype=5))
core__place_1.add(gdstk.Label('s4_a', (37.51,1.87), layer=67, texttype=5))
core__place_1.add(gdstk.Label('s4_y', (38.725,2.075), layer=67, texttype=5))
core__place_1.add(gdstk.Label('g_vddr_m1', (0,4.4), layer=68, texttype=5))
core__place_1.add(gdstk.Label('g_vss_m1', (0.5,2), layer=68, texttype=5))
core__place_1.add(gdstk.Label('s1_vddr_m1', (9.3,4.4), layer=68, texttype=5))
core__place_1.add(gdstk.Label('s1_vss_m1', (9.8,2), layer=68, texttype=5))
core__place_1.add(gdstk.Label('s2_vddr_m1', (17.475,4.4), layer=68, texttype=5))
core__place_1.add(gdstk.Label('s2_vss_m1', (17.975,2), layer=68, texttype=5))
core__place_1.add(gdstk.Label('s3_vddr_m1', (25.65,4.4), layer=68, texttype=5))
core__place_1.add(gdstk.Label('s3_vss_m1', (26.15,2), layer=68, texttype=5))
core__place_1.add(gdstk.Label('s4_vddr_m1', (33.825,4.4), layer=68, texttype=5))
core__place_1.add(gdstk.Label('s4_vss_m1', (34.325,2), layer=68, texttype=5))

core__sig_1 = lib.new_cell('core__sig$1')
A(core__sig_1, li1, 12.775, 1.66, 0.42, 0.42, 4, 1, 8.175, 0)
A(core__sig_1, li1, 13.99, 1.865, 0.42, 0.42, 3, 1, 8.175, 0)
R(core__sig_1, li1, [(4.58,0,5,0.42)])
A(core__sig_1, mcon, 12.875, 1.76, 0.22, 0.22, 4, 1, 8.175, 0)
A(core__sig_1, mcon, 14.09, 1.965, 0.22, 0.22, 3, 1, 8.175, 0)
R(core__sig_1, mcon, [(4.68,0.1,4.9,0.32)])
A(core__sig_1, met1, 12.775, 1.66, 0.42, 0.42, 4, 1, 8.175, 0)
A(core__sig_1, met1, 13.99, 1.865, 0.42, 0.42, 3, 1, 8.175, 0)
R(core__sig_1, met1, [(4.58,0,5,0.42)])
core__sig_1.add(gdstk.FlexPath([(4.79,0.21),(4.79,-1.5),(12.985,-1.5),(12.985,1.87)], 0.17, ends="flush", simple_path=True, layer=68, datatype=20))  # met1
core__sig_1.add(gdstk.FlexPath([(14.2,2.075),(14.2,-1.5),(21.16,-1.5),(21.16,1.87)], 0.17, ends="flush", simple_path=True, layer=68, datatype=20))  # met1
core__sig_1.add(gdstk.FlexPath([(22.375,2.075),(22.375,-1.5),(29.335,-1.5),(29.335,1.87)], 0.17, ends="flush", simple_path=True, layer=68, datatype=20))  # met1
core__sig_1.add(gdstk.FlexPath([(30.55,2.075),(30.55,-1.5),(37.51,-1.5),(37.51,1.87)], 0.17, ends="flush", simple_path=True, layer=68, datatype=20))  # met1
core__sig_1.add(gdstk.Reference(core__place_1, (0,0)))
core__sig_1.add(gdstk.Label('g_a', (4.98,2.75), layer=67, texttype=5))
core__sig_1.add(gdstk.Label('g_en', (3.685,1.975), layer=67, texttype=5))
core__sig_1.add(gdstk.Label('s4_y', (38.725,2.075), layer=67, texttype=5))
core__sig_1.add(gdstk.Label('n1', (9.718,-1.5), layer=68, texttype=5))
core__sig_1.add(gdstk.Label('n2', (17.578,-1.5), layer=68, texttype=5))
core__sig_1.add(gdstk.Label('n3', (25.752,-1.5), layer=68, texttype=5))
core__sig_1.add(gdstk.Label('n4', (33.928,-1.5), layer=68, texttype=5))
core__sig_1.add(gdstk.Label('g_vddr_m1', (0,4.4), layer=68, texttype=5))
core__sig_1.add(gdstk.Label('g_vss_m1', (0.5,2), layer=68, texttype=5))
core__sig_1.add(gdstk.Label('s1_vddr_m1', (9.3,4.4), layer=68, texttype=5))
core__sig_1.add(gdstk.Label('s1_vss_m1', (9.8,2), layer=68, texttype=5))
core__sig_1.add(gdstk.Label('s2_vddr_m1', (17.475,4.4), layer=68, texttype=5))
core__sig_1.add(gdstk.Label('s2_vss_m1', (17.975,2), layer=68, texttype=5))
core__sig_1.add(gdstk.Label('s3_vddr_m1', (25.65,4.4), layer=68, texttype=5))
core__sig_1.add(gdstk.Label('s3_vss_m1', (26.15,2), layer=68, texttype=5))
core__sig_1.add(gdstk.Label('s4_vddr_m1', (33.825,4.4), layer=68, texttype=5))
core__sig_1.add(gdstk.Label('s4_vss_m1', (34.325,2), layer=68, texttype=5))

lib.write_gds('core__sig_1.gds')
